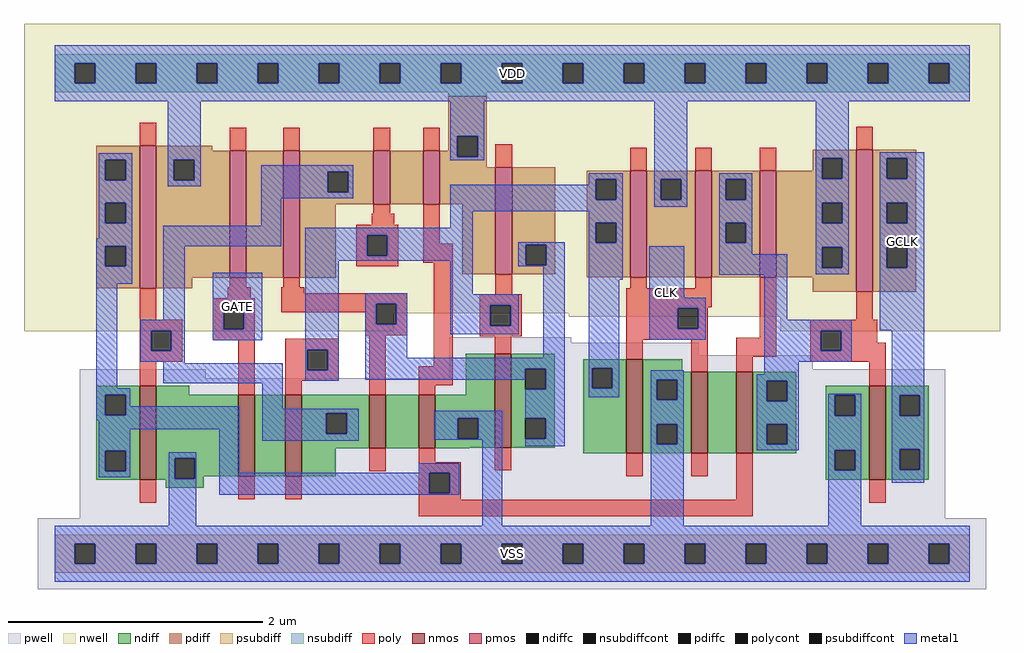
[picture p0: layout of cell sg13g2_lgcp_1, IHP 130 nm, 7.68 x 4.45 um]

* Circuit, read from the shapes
.subckt sg13g2_lgcp_1 GCLK VDD CLK VSS GATE
XM1 VSS n1 n2 VSS sg13_lv_nmos w=0.74u l=0.13u
XM2 n3 GATE VSS VSS sg13_lv_nmos w=0.64u l=0.13u
XM3 n1 n4 n3 VSS sg13_lv_nmos w=0.64u l=0.13u
XM4 n5 n6 n1 VSS sg13_lv_nmos w=0.42u l=0.13u
XM5 VSS n2 n5 VSS sg13_lv_nmos w=0.42u l=0.13u
XM6 n6 n4 VSS VSS sg13_lv_nmos w=0.74u l=0.13u
XM7 VSS CLK n4 VSS sg13_lv_nmos w=0.74u l=0.13u
XM8 n7 CLK VSS VSS sg13_lv_nmos w=0.64u l=0.13u
XM9 n8 n2 n7 VSS sg13_lv_nmos w=0.64u l=0.13u
XM10 GCLK n8 VSS VSS sg13_lv_nmos w=0.74u l=0.13u
XM11 VDD n1 n2 VDD sg13_lv_pmos w=1.12u l=0.13u
XM12 n9 GATE VDD VDD sg13_lv_pmos w=1u l=0.13u
XM13 n1 n6 n9 VDD sg13_lv_pmos w=1u l=0.13u
XM14 n10 n4 n1 VDD sg13_lv_pmos w=0.42u l=0.13u
XM15 VDD n2 n10 VDD sg13_lv_pmos w=0.42u l=0.13u
XM16 n6 n4 VDD VDD sg13_lv_pmos w=0.84u l=0.13u
XM17 VDD CLK n4 VDD sg13_lv_pmos w=0.84u l=0.13u
XM18 n8 CLK VDD VDD sg13_lv_pmos w=0.84u l=0.13u
XM19 VDD n2 n8 VDD sg13_lv_pmos w=0.84u l=0.13u
XM20 GCLK n8 VDD VDD sg13_lv_pmos w=1.12u l=0.13u
.ends

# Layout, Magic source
magic
tech ihp-sg13g2
magscale 1 2
<< nwell >>
rect -48 378 1488 834
rect -48 350 534 378
rect 809 373 1488 378
rect 1142 350 1488 373
<< pwell >>
rect 621 332 813 341
rect 621 312 1014 332
rect 621 290 1193 312
rect 40 276 238 290
rect 621 276 1402 290
rect 40 56 1402 276
rect -26 -56 1466 56
<< nmos >>
rect 134 116 160 264
rect 289 122 315 250
rect 363 122 389 250
rect 495 166 521 250
rect 573 166 599 250
rect 693 167 719 315
rect 900 158 926 306
rect 1002 158 1028 286
rect 1073 158 1099 286
rect 1282 116 1308 264
<< pmos >>
rect 134 418 160 642
rect 276 434 302 634
rect 360 434 386 634
rect 502 550 528 634
rect 580 550 606 634
rect 694 440 720 608
rect 906 435 932 603
rect 1008 435 1034 603
rect 1110 435 1136 603
rect 1262 412 1288 636
<< ndiff >>
rect 66 250 134 264
rect 66 218 80 250
rect 112 218 134 250
rect 66 162 134 218
rect 66 130 80 162
rect 112 130 134 162
rect 66 116 134 130
rect 160 250 212 264
rect 647 250 693 315
rect 160 150 289 250
rect 160 118 189 150
rect 221 122 289 150
rect 315 122 363 250
rect 389 221 495 250
rect 389 189 428 221
rect 460 189 495 221
rect 389 166 495 189
rect 521 166 573 250
rect 599 213 693 250
rect 599 181 635 213
rect 667 181 693 213
rect 599 167 693 181
rect 719 291 787 315
rect 719 259 741 291
rect 773 259 787 291
rect 719 213 787 259
rect 719 181 741 213
rect 773 181 787 213
rect 719 167 787 181
rect 832 292 900 306
rect 832 260 846 292
rect 878 260 900 292
rect 599 166 653 167
rect 389 122 443 166
rect 832 158 900 260
rect 926 286 988 306
rect 926 274 1002 286
rect 926 242 948 274
rect 980 242 1002 274
rect 926 204 1002 242
rect 926 172 948 204
rect 980 172 1002 204
rect 926 158 1002 172
rect 1028 158 1073 286
rect 1099 272 1167 286
rect 1099 240 1121 272
rect 1153 240 1167 272
rect 1099 204 1167 240
rect 1099 172 1121 204
rect 1153 172 1167 204
rect 1099 158 1167 172
rect 1214 249 1282 264
rect 1214 217 1228 249
rect 1260 217 1282 249
rect 1214 163 1282 217
rect 221 118 235 122
rect 160 116 235 118
rect 175 104 235 116
rect 1214 131 1228 163
rect 1260 131 1282 163
rect 1214 116 1282 131
rect 1308 249 1376 264
rect 1308 217 1330 249
rect 1362 217 1376 249
rect 1308 164 1376 217
rect 1308 132 1330 164
rect 1362 132 1376 164
rect 1308 116 1376 132
<< pdiff >>
rect 66 620 134 642
rect 66 588 80 620
rect 112 588 134 620
rect 66 552 134 588
rect 66 520 80 552
rect 112 520 134 552
rect 66 484 134 520
rect 66 452 80 484
rect 112 452 134 484
rect 66 418 134 452
rect 160 634 248 642
rect 620 657 680 720
rect 620 634 634 657
rect 160 620 276 634
rect 160 588 188 620
rect 220 588 276 620
rect 160 434 276 588
rect 302 434 360 634
rect 386 601 502 634
rect 386 569 430 601
rect 462 569 502 601
rect 386 550 502 569
rect 528 550 580 634
rect 606 625 634 634
rect 666 625 680 657
rect 606 608 680 625
rect 606 550 694 608
rect 386 434 443 550
rect 160 418 217 434
rect 642 440 694 550
rect 720 486 788 608
rect 1193 622 1262 636
rect 1193 603 1208 622
rect 720 454 742 486
rect 774 454 788 486
rect 720 440 788 454
rect 838 589 906 603
rect 838 557 852 589
rect 884 557 906 589
rect 838 521 906 557
rect 838 489 852 521
rect 884 489 906 521
rect 838 435 906 489
rect 932 589 1008 603
rect 932 557 954 589
rect 986 557 1008 589
rect 932 435 1008 557
rect 1034 589 1110 603
rect 1034 557 1056 589
rect 1088 557 1110 589
rect 1034 521 1110 557
rect 1034 489 1056 521
rect 1088 489 1110 521
rect 1034 435 1110 489
rect 1136 590 1208 603
rect 1240 590 1262 622
rect 1136 552 1262 590
rect 1136 520 1208 552
rect 1240 520 1262 552
rect 1136 482 1262 520
rect 1136 450 1208 482
rect 1240 450 1262 482
rect 1136 435 1262 450
rect 1193 412 1262 435
rect 1288 622 1356 636
rect 1288 590 1310 622
rect 1342 590 1356 622
rect 1288 552 1356 590
rect 1288 520 1310 552
rect 1342 520 1356 552
rect 1288 482 1356 520
rect 1288 450 1310 482
rect 1342 450 1356 482
rect 1288 412 1356 450
<< ndiffc >>
rect 80 218 112 250
rect 80 130 112 162
rect 189 118 221 150
rect 428 189 460 221
rect 635 181 667 213
rect 741 259 773 291
rect 741 181 773 213
rect 846 260 878 292
rect 948 242 980 274
rect 948 172 980 204
rect 1121 240 1153 272
rect 1121 172 1153 204
rect 1228 217 1260 249
rect 1228 131 1260 163
rect 1330 217 1362 249
rect 1330 132 1362 164
<< pdiffc >>
rect 80 588 112 620
rect 80 520 112 552
rect 80 452 112 484
rect 188 588 220 620
rect 430 569 462 601
rect 634 625 666 657
rect 742 454 774 486
rect 852 557 884 589
rect 852 489 884 521
rect 954 557 986 589
rect 1056 557 1088 589
rect 1056 489 1088 521
rect 1208 590 1240 622
rect 1208 520 1240 552
rect 1208 450 1240 482
rect 1310 590 1342 622
rect 1310 520 1342 552
rect 1310 450 1342 482
<< psubdiff >>
rect 0 16 1440 30
rect 0 -16 32 16
rect 64 -16 128 16
rect 160 -16 224 16
rect 256 -16 320 16
rect 352 -16 416 16
rect 448 -16 512 16
rect 544 -16 608 16
rect 640 -16 704 16
rect 736 -16 800 16
rect 832 -16 896 16
rect 928 -16 992 16
rect 1024 -16 1088 16
rect 1120 -16 1184 16
rect 1216 -16 1280 16
rect 1312 -16 1376 16
rect 1408 -16 1440 16
rect 0 -30 1440 -16
<< nsubdiff >>
rect 0 772 1440 786
rect 0 740 32 772
rect 64 740 128 772
rect 160 740 224 772
rect 256 740 320 772
rect 352 740 416 772
rect 448 740 512 772
rect 544 740 608 772
rect 640 740 704 772
rect 736 740 800 772
rect 832 740 896 772
rect 928 740 992 772
rect 1024 740 1088 772
rect 1120 740 1184 772
rect 1216 740 1280 772
rect 1312 740 1376 772
rect 1408 740 1440 772
rect 0 726 1440 740
rect 620 720 680 726
<< psubdiffcont >>
rect 32 -16 64 16
rect 128 -16 160 16
rect 224 -16 256 16
rect 320 -16 352 16
rect 416 -16 448 16
rect 512 -16 544 16
rect 608 -16 640 16
rect 704 -16 736 16
rect 800 -16 832 16
rect 896 -16 928 16
rect 992 -16 1024 16
rect 1088 -16 1120 16
rect 1184 -16 1216 16
rect 1280 -16 1312 16
rect 1376 -16 1408 16
<< nsubdiffcont >>
rect 32 740 64 772
rect 128 740 160 772
rect 224 740 256 772
rect 320 740 352 772
rect 416 740 448 772
rect 512 740 544 772
rect 608 740 640 772
rect 704 740 736 772
rect 800 740 832 772
rect 896 740 928 772
rect 992 740 1024 772
rect 1088 740 1120 772
rect 1184 740 1216 772
rect 1280 740 1312 772
rect 1376 740 1408 772
<< poly >>
rect 134 642 160 678
rect 276 634 302 670
rect 360 634 386 670
rect 502 634 528 670
rect 580 634 606 670
rect 694 608 720 644
rect 502 535 528 550
rect 499 518 535 535
rect 475 501 541 518
rect 475 469 492 501
rect 524 469 541 501
rect 475 452 541 469
rect 580 488 606 550
rect 580 458 627 488
rect 276 419 302 434
rect 360 419 386 434
rect 134 368 160 418
rect 273 402 309 419
rect 357 410 393 419
rect 249 385 315 402
rect 134 351 201 368
rect 134 319 152 351
rect 184 319 201 351
rect 249 353 266 385
rect 298 353 315 385
rect 357 393 555 410
rect 357 380 506 393
rect 249 336 315 353
rect 489 361 506 380
rect 538 361 555 393
rect 489 344 555 361
rect 134 302 201 319
rect 134 264 160 302
rect 289 250 315 336
rect 363 321 447 338
rect 363 289 398 321
rect 430 289 447 321
rect 363 272 447 289
rect 363 250 389 272
rect 495 250 521 344
rect 597 295 627 458
rect 906 603 932 639
rect 1008 603 1034 639
rect 1110 603 1136 639
rect 1262 636 1288 672
rect 694 408 720 440
rect 906 418 932 435
rect 1008 418 1034 435
rect 669 391 735 408
rect 669 359 686 391
rect 718 359 735 391
rect 669 342 735 359
rect 900 388 1034 418
rect 900 386 1028 388
rect 900 354 981 386
rect 1013 354 1028 386
rect 693 315 719 342
rect 900 337 1028 354
rect 1110 340 1136 435
rect 1262 368 1288 412
rect 573 265 627 295
rect 573 250 599 265
rect 900 306 926 337
rect 495 130 521 166
rect 573 144 599 166
rect 573 127 639 144
rect 693 131 719 167
rect 1002 286 1028 337
rect 1073 310 1136 340
rect 1189 351 1295 368
rect 1189 319 1206 351
rect 1238 332 1295 351
rect 1238 319 1308 332
rect 1073 286 1099 310
rect 1189 302 1308 319
rect 1282 264 1308 302
rect 134 80 160 116
rect 289 86 315 122
rect 363 86 389 122
rect 573 95 590 127
rect 622 95 639 127
rect 900 122 926 158
rect 1002 122 1028 158
rect 573 85 639 95
rect 1073 85 1099 158
rect 573 59 1099 85
rect 1282 80 1308 116
<< polycont >>
rect 492 469 524 501
rect 152 319 184 351
rect 266 353 298 385
rect 506 361 538 393
rect 398 289 430 321
rect 686 359 718 391
rect 981 354 1013 386
rect 1206 319 1238 351
rect 590 95 622 127
<< metal1 >>
rect 0 772 1440 800
rect 0 740 32 772
rect 64 740 128 772
rect 160 740 224 772
rect 256 740 320 772
rect 352 740 416 772
rect 448 740 512 772
rect 544 740 608 772
rect 640 740 704 772
rect 736 740 800 772
rect 832 740 896 772
rect 928 740 992 772
rect 1024 740 1088 772
rect 1120 740 1184 772
rect 1216 740 1280 772
rect 1312 740 1376 772
rect 1408 740 1440 772
rect 0 712 1440 740
rect 70 620 122 630
rect 70 588 80 620
rect 112 588 122 620
rect 70 552 122 588
rect 178 620 230 712
rect 178 588 188 620
rect 220 588 230 620
rect 623 657 676 712
rect 623 625 634 657
rect 666 625 676 657
rect 623 619 676 625
rect 178 578 230 588
rect 325 601 470 611
rect 70 520 80 552
rect 112 520 122 552
rect 70 496 122 520
rect 325 569 430 601
rect 462 569 470 601
rect 841 589 894 599
rect 841 581 852 589
rect 325 559 470 569
rect 325 516 357 559
rect 66 484 122 496
rect 66 452 80 484
rect 112 452 122 484
rect 66 425 122 452
rect 171 484 357 516
rect 623 557 852 581
rect 884 557 894 589
rect 623 539 894 557
rect 944 589 996 712
rect 1198 622 1250 712
rect 944 557 954 589
rect 986 557 996 589
rect 944 546 996 557
rect 1046 589 1098 599
rect 1046 557 1056 589
rect 1088 557 1098 589
rect 623 513 658 539
rect 395 501 658 513
rect 66 260 99 425
rect 171 368 205 484
rect 395 469 492 501
rect 524 469 658 501
rect 841 521 894 539
rect 395 461 658 469
rect 135 351 205 368
rect 135 319 152 351
rect 184 319 205 351
rect 249 385 327 442
rect 249 353 266 385
rect 298 353 327 385
rect 249 336 327 353
rect 135 302 205 319
rect 171 300 205 302
rect 395 321 447 461
rect 171 268 359 300
rect 395 289 398 321
rect 430 289 447 321
rect 395 272 447 289
rect 489 393 555 410
rect 489 361 506 393
rect 538 361 555 393
rect 489 308 555 361
rect 623 408 658 461
rect 730 486 803 490
rect 730 454 742 486
rect 774 454 803 486
rect 730 452 803 454
rect 623 391 731 408
rect 623 359 686 391
rect 718 359 731 391
rect 623 345 731 359
rect 769 308 803 452
rect 489 291 803 308
rect 489 274 741 291
rect 66 250 119 260
rect 66 218 80 250
rect 112 232 119 250
rect 112 218 291 232
rect 66 210 291 218
rect 70 196 291 210
rect 70 162 119 196
rect 70 130 80 162
rect 112 130 119 162
rect 70 120 119 130
rect 180 150 223 160
rect 180 118 189 150
rect 221 118 223 150
rect 180 44 223 118
rect 259 127 291 196
rect 327 228 359 268
rect 773 259 803 291
rect 327 221 479 228
rect 327 189 428 221
rect 460 189 479 221
rect 327 178 479 189
rect 598 213 705 225
rect 598 181 635 213
rect 667 181 705 213
rect 598 179 705 181
rect 573 127 637 142
rect 259 95 590 127
rect 622 95 637 127
rect 259 93 637 95
rect 673 44 705 179
rect 741 213 803 259
rect 841 489 852 521
rect 884 489 894 521
rect 841 431 894 489
rect 1046 521 1098 557
rect 1046 489 1056 521
rect 1088 489 1098 521
rect 841 292 889 431
rect 936 403 991 484
rect 1046 471 1098 489
rect 1198 590 1208 622
rect 1240 590 1250 622
rect 1198 552 1250 590
rect 1198 520 1208 552
rect 1240 520 1250 552
rect 1198 482 1250 520
rect 1046 439 1153 471
rect 1198 450 1208 482
rect 1240 450 1250 482
rect 1198 440 1250 450
rect 1299 622 1369 632
rect 1299 590 1310 622
rect 1342 590 1369 622
rect 1299 552 1369 590
rect 1299 520 1310 552
rect 1342 520 1369 552
rect 1299 482 1369 520
rect 1299 450 1310 482
rect 1342 450 1369 482
rect 936 386 1025 403
rect 936 354 981 386
rect 1013 354 1025 386
rect 936 337 1025 354
rect 1117 368 1153 439
rect 1117 351 1255 368
rect 1299 352 1369 450
rect 841 260 846 292
rect 878 260 889 292
rect 1117 319 1206 351
rect 1238 319 1255 351
rect 1117 302 1255 319
rect 841 246 889 260
rect 938 274 990 289
rect 1117 282 1171 302
rect 773 181 803 213
rect 741 169 803 181
rect 938 242 948 274
rect 980 242 990 274
rect 938 204 990 242
rect 938 172 948 204
rect 980 172 990 204
rect 938 44 990 172
rect 1105 272 1171 282
rect 1105 240 1121 272
rect 1153 240 1171 272
rect 1105 204 1171 240
rect 1105 172 1121 204
rect 1153 172 1171 204
rect 1105 163 1171 172
rect 1218 249 1270 252
rect 1218 217 1228 249
rect 1260 217 1270 249
rect 1218 163 1270 217
rect 1218 131 1228 163
rect 1260 131 1270 163
rect 1218 44 1270 131
rect 1318 249 1369 352
rect 1318 217 1330 249
rect 1362 217 1369 249
rect 1318 164 1369 217
rect 1318 132 1330 164
rect 1362 132 1369 164
rect 1318 112 1369 132
rect 0 16 1440 44
rect 0 -16 32 16
rect 64 -16 128 16
rect 160 -16 224 16
rect 256 -16 320 16
rect 352 -16 416 16
rect 448 -16 512 16
rect 544 -16 608 16
rect 640 -16 704 16
rect 736 -16 800 16
rect 832 -16 896 16
rect 928 -16 992 16
rect 1024 -16 1088 16
rect 1120 -16 1184 16
rect 1216 -16 1280 16
rect 1312 -16 1376 16
rect 1408 -16 1440 16
rect 0 -44 1440 -16
<< labels >>
flabel metal1 s 1299 352 1369 632 0 FreeSans 400 0 0 0 GCLK
port 2 nsew
flabel metal1 s 0 712 1440 800 0 FreeSans 400 0 0 0 VDD
port 3 nsew
flabel metal1 s 936 337 991 484 0 FreeSans 400 0 0 0 CLK
port 4 nsew
flabel metal1 s 0 -44 1440 44 0 FreeSans 400 0 0 0 VSS
port 5 nsew
flabel metal1 s 249 336 327 442 0 FreeSans 400 0 0 0 GATE
port 6 nsew
<< properties >>
string FIXED_BBOX 0 0 1440 756
<< end >>
